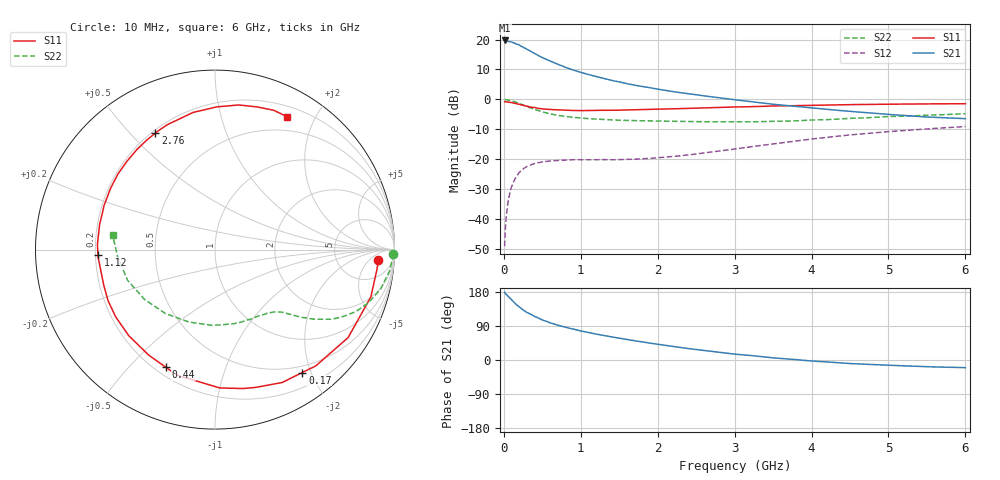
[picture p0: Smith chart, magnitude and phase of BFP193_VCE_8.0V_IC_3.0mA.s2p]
! (c) 2016  Infineon Technologies AG, Munich
! Infineon Technologies  Discrete & RF Semiconductors
! BFP193
! VCE = 8.0 V,  IC =  3.0 mA
! Common Emitter S-Parameters:  Jan 2016
# GHz  S  MA  R  50
!  f  S11  S21  S12  S22
! GHz  MAG  ANG  MAG  ANG  MAG  ANG  MAG  ANG
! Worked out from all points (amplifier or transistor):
!   210 points, 10 MHz to 6 GHz, reference 50 ohm
!   highest |S21| = 19.7 dB at 10 MHz (marker M1)
!   |S21| within 3 dB of that: start of sweep to 304.9 MHz
!   unconditionally stable (mu >= 1): 1.477 GHz to 3.547 GHz
!   at 185 MHz: K = 0.15, MSG = 21.7 dB, |S12| = -25.0 dB
!   at 1.52 GHz: K = 1.02, MAG = 12.1 dB, |S12| = -20.2 dB
!   at 6 GHz: K = 0.92, MSG = 1.3 dB, |S12| = -9.1 dB
!   S11 on the Smith chart (normalised r, x): 10 MHz: 15, -10; 170 MHz: 0.40, -1.87; 440 MHz: 0.24, -0.64; 1.12 GHz: 0.21, -0.02; 2.76 GHz: 0.21, +0.59; 6 GHz: 0.32, +1.64
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0.01  0.9122 -3.6  9.65 178.8  0.0035 91.8  0.9919 -1.4
0.02  0.9092 -6.8  9.485 175.3  0.0069 83.8  0.9909 -2.7
0.04  0.9049 -13.5  9.392 171.2  0.014 81.5  0.983 -5.5
0.1  0.889 -33.5  9.135 159.0  0.0343 72.9  0.9489 -13.4
0.15  0.8574 -49.1  8.576 148.5  0.0481 63.5  0.9043 -19.2
0.17  0.8402 -54.6  8.358 145.3  0.0527 60.5  0.8847 -21.0
0.2  0.8296 -63.2  8.084 140.1  0.0597 56.9  0.8571 -23.8
0.26  0.7896 -78.6  7.369 130.8  0.0698 49.6  0.7932 -28.4
0.3  0.7713 -88.0  6.887 125.5  0.0754 46.1  0.7563 -30.9
0.4  0.731 -106.8  5.841 115.0  0.0848 38.4  0.6764 -35.0
0.44  0.7103 -112.7  5.479 111.6  0.0868 36.2  0.6525 -36.1
0.5  0.6943 -122.1  4.977 105.7  0.0901 33.0  0.617 -37.8
0.7  0.6684 -145.8  3.865 91.9  0.095 26.7  0.5397 -41.4
1.02  0.6474 -171.0  2.774 76.0  0.0975 23.3  0.4839 -45.8
1.12  0.6528 -177.6  2.557 71.7  0.0975 23.2  0.4733 -47.5
1.6  0.6652 158.3  1.826 54.0  0.0992 26.6  0.4434 -56.3
2.02  0.6859 141.3  1.466 41.0  0.106 32.5  0.4312 -65.6
2.76  0.7292 117.1  1.081 21.2  0.134 40.8  0.4207 -85.7
3.1  0.7481 108.5  0.951 13.8  0.1538 41.9  0.4204 -96.6
4.1  0.7983 87.4  0.698 -3.8  0.2239 37.6  0.4532 -131.2
5.1  0.8307 72.2  0.548 -14.8  0.2945 26.5  0.5185 -163.6
6  0.8428 61.5  0.475 -20.2  0.3507 15.0  0.5758 171.9
